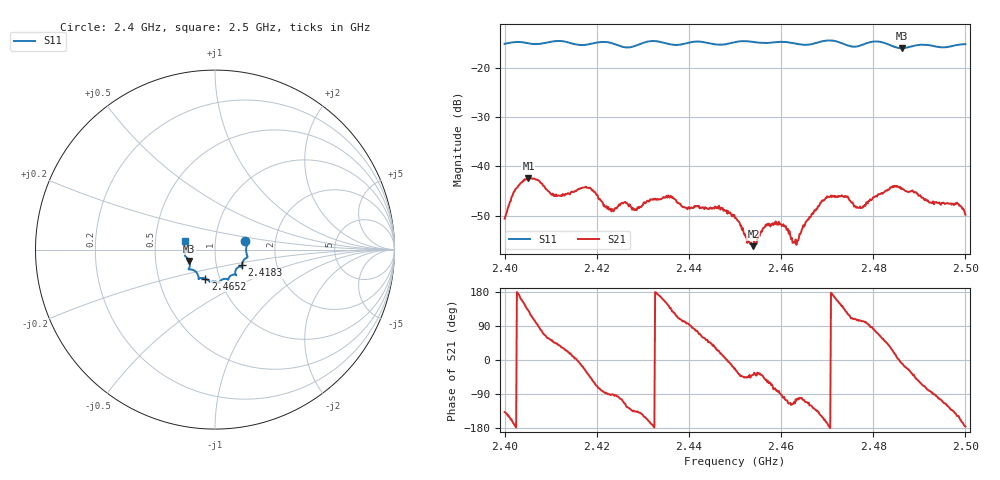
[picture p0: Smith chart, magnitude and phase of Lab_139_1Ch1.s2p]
# Hz S RI R 50
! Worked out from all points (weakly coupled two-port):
!   601 points, 2.4 GHz to 2.5 GHz, reference 50 ohm
!   highest |S21| = -42.38 dB at 2.4052 GHz (marker M1); lowest = -56.2 dB at 2.454 GHz (marker M2)
!   lowest |S11| = -16.1 dB at 2.4862 GHz (marker M3), VSWR 1.37, Z = 37.2 - j4.87 ohm
!   |S11| at or under -10 dB: start of sweep to end of sweep
!   S12 and S22 are empty: the file has one direction only
!   S11 on the Smith chart (normalised r, x): 2.4 GHz: 1.40, +0.13; 2.4183 GHz: 1.33, -0.24; 2.4652 GHz: 0.85, -0.28; 2.5 GHz: 0.71, +0.07
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2.4e9  0.1678 0.0467  -0.00216 -0.00199  0 0  0 0
2.402333e9  0.1779 0.0354  -0.00583 -0.000546  0 0  0 0
2.405167e9  0.1755 0.0174  -0.00489 0.00583  0 0  0 0
2.411167e9  0.1815 -0.0392  0.00374 0.00358  0 0  0 0
2.416667e9  0.1548 -0.068  0.0058 -0.00151  0 0  0 0
2.418333e9  0.1497 -0.0863  0.00451 -0.00395  0 0  0 0
2.423167e9  0.1486 -0.0972  -9.49e-05 -0.00348  0 0  0 0
2.433333e9  0.1172 -0.1416  -0.00456 0.000613  0 0  0 0
2.446833e9  0.0466 -0.1641  0.00348 0.00104  0 0  0 0
2.45e9  0.0256 -0.1797  0.00274 -0.00115  0 0  0 0
2.454e9  0.014 -0.1812  0.00121 -0.000964  0 0  0 0
2.4565e9  -0.00464 -0.1775  0.00155 -0.00187  0 0  0 0
2.459e9  -0.0229 -0.1799  0.000406 -0.00254  0 0  0 0
2.463e9  -0.0359 -0.1718  -0.000702 -0.00152  0 0  0 0
2.465167e9  -0.0542 -0.1613  -0.000853 -0.00239  0 0  0 0
2.466667e9  -0.0708 -0.1578  -0.00174 -0.0028  0 0  0 0
2.470333e9  -0.0913 -0.1647  -0.00487 -0.000491  0 0  0 0
2.474e9  -0.095 -0.142  -0.00308 0.0039  0 0  0 0
2.477167e9  -0.1229 -0.1131  -0.000945 0.00379  0 0  0 0
2.483333e9  -0.1414 -0.0967  0.00449 0.00362  0 0  0 0
2.486167e9  -0.1434 -0.0639  0.0059 -0.000934  0 0  0 0
2.5e9  -0.166 0.0476  -0.00321 -0.000239  0 0  0 0
